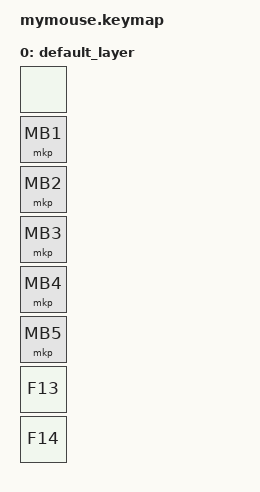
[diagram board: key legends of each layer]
#include <behaviors.dtsi>
#include <dt-bindings/zmk/keys.h>
#include <dt-bindings/zmk/pointing.h>

/ {
    keymap {
        compatible = "zmk,keymap";
        default_layer {
            bindings = <
                &none
                &mkp MB1
                &mkp MB2
                &mkp MB3
                &mkp MB4
                &mkp MB5
                &kp F13
                &kp F14
            >;
        };
    };
};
